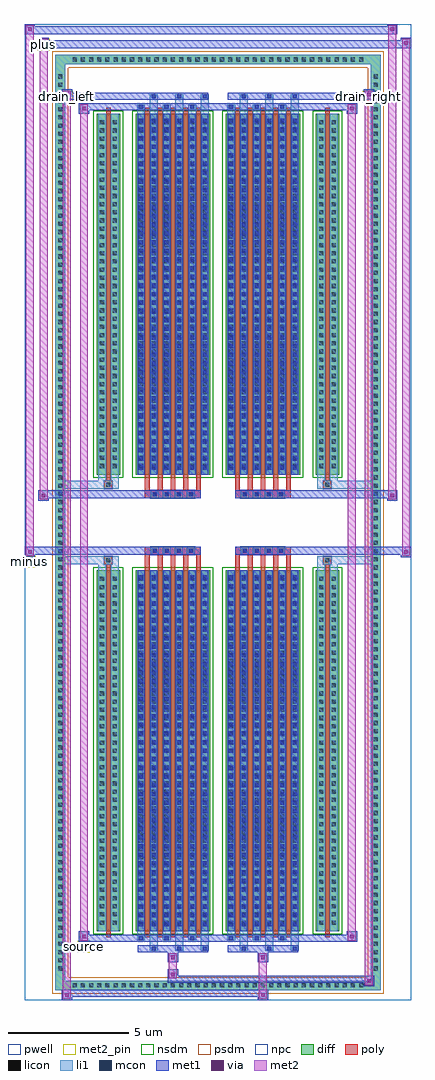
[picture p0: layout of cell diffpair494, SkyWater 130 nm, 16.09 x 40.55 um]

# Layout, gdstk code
import gdstk
lib = gdstk.Library(unit=1e-6, precision=5e-09)
def R(c, l, rs):  # rectangles x0, y0, x1, y1
    for r in rs: c.add(gdstk.rectangle(r[:2], r[2:], *l))
def A(c, l, x, y, w, h, nx, ny, dx, dy):  # array of equal rectangles
    R(c, l, [(x+i*dx, y+j*dy, x+i*dx+w, y+j*dy+h) for i in range(nx) for j in range(ny)])
def P(c, l, *ps):  # polygons
    for p in ps: c.add(gdstk.Polygon(p, *l))
pwell = (64, 44)
diff = (65, 20)
poly = (66, 20)
licon = (66, 44)
li1 = (67, 20)
mcon = (67, 44)
met1 = (68, 20)
via = (68, 44)
met2_pin = (69, 16)
met2 = (69, 20)
nsdm = (93, 44)
psdm = (94, 20)
npc = (95, 20)

diffpair494 = lib.new_cell('diffpair494')
R(diffpair494, pwell, [(-8.03,-19.84,8.03,20.71), (-5.35,-18.03,-0.01,-0.805), (0.01,-18.03,5.35,-0.805), (-5.35,0.805,-0.01,18.03), (0.01,0.805,5.35,18.03)])
A(diffpair494, diff, -6.155, -19.44, 0.41, 0.41, 36, 2, 0.34, 38.47)
A(diffpair494, diff, -6.76, -18.735, 0.41, 0.41, 1, 110, 0, 0.34)
A(diffpair494, diff, 6.35, -18.735, 0.41, 0.41, 1, 110, 0, 0.34)
R(diffpair494, diff, [(-6.155,-19.44,6.155,-19.03), (-6.76,-18.735,-6.35,18.735), (6.35,-18.735,6.76,18.735), (-5.04,-16.985,-4.06,-1.985), (-3.42,-16.985,-0.32,-1.985), (0.32,-16.985,3.42,-1.985), (4.06,-16.985,5.04,-1.985), (-5.04,1.985,-4.06,16.985), (-3.42,1.985,-0.32,16.985), (0.32,1.985,3.42,16.985), (4.06,1.985,5.04,16.985), (-6.155,19.03,6.155,19.44)])
P(diffpair494, diff, [(6.76,19.44),(-6.76,19.44),(-6.76,-19.03),(-6.35,-19.03),(-6.35,19.03),(6.35,19.03),(6.35,-19.03),(-6.35,-19.03),(-6.76,-19.03),(-6.76,-19.44),(6.76,-19.44)])
A(diffpair494, poly, -3.03, -17.235, 0.2, 15.5, 5, 2, 0.53, 18.97)
A(diffpair494, poly, 0.71, -17.235, 0.2, 15.5, 5, 2, 0.53, 18.97)
A(diffpair494, poly, -3.03, -1.735, 0.2, 0.4, 5, 2, 0.53, 3.07)
A(diffpair494, poly, 0.71, -1.735, 0.2, 0.4, 5, 2, 0.53, 3.07)
A(diffpair494, poly, -2.785, -1.335, 0.33, 0.33, 4, 2, 0.5, 2.34)
A(diffpair494, poly, 0.955, -1.335, 0.33, 0.33, 4, 2, 0.5, 2.34)
R(diffpair494, poly, [(-4.65,-17.235,-4.45,-1.735), (4.45,-17.235,4.65,-1.735), (-4.715,-1.735,-4.385,-1.405), (-4.715,-1.735,-4.385,-1.405), (4.385,-1.735,4.715,-1.405), (4.385,-1.735,4.715,-1.405), (-3.03,-1.335,-0.71,-1.005), (0.71,-1.335,3.03,-1.005), (-3.03,1.005,-0.71,1.335), (0.71,1.005,3.03,1.335), (-4.715,1.405,-4.385,1.735), (-4.715,1.405,-4.385,1.735), (4.385,1.405,4.715,1.735), (4.385,1.405,4.715,1.735), (-4.65,1.735,-4.45,17.235), (4.45,1.735,4.65,17.235)])
A(diffpair494, licon, -6.035, -19.32, 0.17, 0.17, 36, 2, 0.34, 38.47)
A(diffpair494, licon, -6.64, -18.615, 0.17, 0.17, 1, 110, 0, 0.34)
A(diffpair494, licon, 6.47, -18.615, 0.17, 0.17, 1, 110, 0, 0.34)
A(diffpair494, licon, -4.9, -16.71, 0.17, 0.17, 1, 43, 0, 0.34)
A(diffpair494, licon, -4.37, -16.71, 0.17, 0.17, 1, 43, 0, 0.34)
A(diffpair494, licon, -3.28, -16.71, 0.17, 0.17, 6, 43, 0.53, 0.34)
A(diffpair494, licon, 0.46, -16.71, 0.17, 0.17, 6, 43, 0.53, 0.34)
A(diffpair494, licon, 4.2, -16.71, 0.17, 0.17, 1, 43, 0, 0.34)
A(diffpair494, licon, 4.73, -16.71, 0.17, 0.17, 1, 43, 0, 0.34)
A(diffpair494, licon, -2.705, -1.255, 0.17, 0.17, 4, 2, 0.5, 2.34)
A(diffpair494, licon, 1.035, -1.255, 0.17, 0.17, 4, 2, 0.5, 2.34)
A(diffpair494, licon, -4.9, 2.26, 0.17, 0.17, 1, 43, 0, 0.34)
A(diffpair494, licon, -4.37, 2.26, 0.17, 0.17, 1, 43, 0, 0.34)
A(diffpair494, licon, -3.28, 2.26, 0.17, 0.17, 6, 43, 0.53, 0.34)
A(diffpair494, licon, 0.46, 2.26, 0.17, 0.17, 6, 43, 0.53, 0.34)
A(diffpair494, licon, 4.2, 2.26, 0.17, 0.17, 1, 43, 0, 0.34)
A(diffpair494, licon, 4.73, 2.26, 0.17, 0.17, 1, 43, 0, 0.34)
R(diffpair494, licon, [(-4.635,-1.655,-4.465,-1.485), (4.465,-1.655,4.635,-1.485), (-4.635,1.485,-4.465,1.655), (4.465,1.485,4.635,1.655)])
A(diffpair494, li1, -6.115, -19.4, 0.33, 0.33, 36, 2, 0.34, 38.47)
A(diffpair494, li1, -6.72, -18.695, 0.33, 0.33, 1, 110, 0, 0.34)
A(diffpair494, li1, 6.39, -18.695, 0.33, 0.33, 1, 110, 0, 0.34)
A(diffpair494, li1, -2.83, -17.79, 0.33, 0.805, 3, 2, 1.06, 34.775)
A(diffpair494, li1, -2.75, -17.79, 0.17, 0.17, 3, 2, 1.06, 35.41)
A(diffpair494, li1, 0.91, -17.79, 0.33, 0.805, 3, 2, 1.06, 34.775)
A(diffpair494, li1, 0.99, -17.79, 0.17, 0.17, 3, 2, 1.06, 35.41)
A(diffpair494, li1, -3.36, -17.36, 0.33, 0.375, 3, 2, 1.06, 34.345)
A(diffpair494, li1, -3.28, -17.36, 0.17, 0.17, 3, 2, 1.06, 34.55)
A(diffpair494, li1, 0.38, -17.36, 0.33, 0.375, 3, 2, 1.06, 34.345)
A(diffpair494, li1, 0.46, -17.36, 0.17, 0.17, 3, 2, 1.06, 34.55)
A(diffpair494, li1, -3.36, -16.985, 0.33, 15, 6, 2, 0.53, 18.97)
A(diffpair494, li1, 0.38, -16.985, 0.33, 15, 6, 2, 0.53, 18.97)
A(diffpair494, li1, -4.98, -16.79, 0.33, 0.33, 1, 43, 0, 0.34)
A(diffpair494, li1, -4.45, -16.79, 0.33, 0.33, 1, 43, 0, 0.34)
A(diffpair494, li1, -3.36, -16.79, 0.33, 0.33, 6, 43, 0.53, 0.34)
A(diffpair494, li1, 0.38, -16.79, 0.33, 0.33, 6, 43, 0.53, 0.34)
A(diffpair494, li1, 4.12, -16.79, 0.33, 0.33, 1, 43, 0, 0.34)
A(diffpair494, li1, 4.65, -16.79, 0.33, 0.33, 1, 43, 0, 0.34)
A(diffpair494, li1, -3.28, -16.77, 0.17, 0.17, 6, 41, 0.53, 0.36)
A(diffpair494, li1, -3.28, -16.77, 0.17, 14.57, 6, 2, 0.53, 18.97)
A(diffpair494, li1, 0.46, -16.77, 0.17, 0.17, 6, 41, 0.53, 0.36)
A(diffpair494, li1, 0.46, -16.77, 0.17, 14.57, 6, 2, 0.53, 18.97)
A(diffpair494, li1, -2.785, -1.335, 0.33, 0.33, 4, 2, 0.5, 2.34)
A(diffpair494, li1, 0.955, -1.335, 0.33, 0.33, 4, 2, 0.5, 2.34)
A(diffpair494, li1, -4.98, 2.18, 0.33, 0.33, 1, 43, 0, 0.34)
A(diffpair494, li1, -4.45, 2.18, 0.33, 0.33, 1, 43, 0, 0.34)
A(diffpair494, li1, -3.36, 2.18, 0.33, 0.33, 6, 43, 0.53, 0.34)
A(diffpair494, li1, 0.38, 2.18, 0.33, 0.33, 6, 43, 0.53, 0.34)
A(diffpair494, li1, 4.12, 2.18, 0.33, 0.33, 1, 43, 0, 0.34)
A(diffpair494, li1, 4.65, 2.18, 0.33, 0.33, 1, 43, 0, 0.34)
A(diffpair494, li1, -3.28, 2.2, 0.17, 0.17, 6, 41, 0.53, 0.36)
A(diffpair494, li1, 0.46, 2.2, 0.17, 0.17, 6, 41, 0.53, 0.36)
R(diffpair494, li1, [(-6.76,-19.44,-6.35,-19.03), (-6.76,-19.44,-6.35,-19.03), (-6.35,-19.44,6.35,-19.03), (6.35,-19.44,6.76,-19.03), (6.35,-19.44,6.76,-19.03), (-6.76,-19.03,-6.35,19.03), (6.35,-19.03,6.76,19.03), (-4.98,-16.985,-4.65,-1.985), (-4.45,-16.985,-4.12,-1.985), (4.12,-16.985,4.45,-1.985), (4.65,-16.985,4.98,-1.985), (-4.98,-1.985,-4.65,-1.405), (-4.45,-1.985,-4.12,-1.405), (4.12,-1.985,4.45,-1.405), (4.65,-1.985,4.98,-1.405), (-6.76,-1.735,-4.715,-1.405), (-4.98,-1.735,-4.715,-1.405), (-4.715,-1.735,-4.385,-1.405), (-4.385,-1.735,-4.12,-1.405), (4.12,-1.735,4.385,-1.405), (4.385,-1.735,4.715,-1.405), (4.385,-1.735,6.76,-1.405), (4.715,-1.735,4.98,-1.405), (-6.76,1.405,-4.715,1.735), (-4.98,1.405,-4.715,1.735), (-4.98,1.405,-4.65,1.985), (-4.715,1.405,-4.385,1.735), (-4.45,1.405,-4.12,1.985), (-4.385,1.405,-4.12,1.735), (4.12,1.405,4.385,1.735), (4.12,1.405,4.45,1.985), (4.385,1.405,4.715,1.735), (4.385,1.405,6.76,1.735), (4.65,1.405,4.98,1.985), (4.715,1.405,4.98,1.735), (-4.98,1.985,-4.65,16.985), (-4.45,1.985,-4.12,16.985), (4.12,1.985,4.45,16.985), (4.65,1.985,4.98,16.985), (-6.76,19.03,-6.35,19.44), (-6.76,19.03,-6.35,19.44), (-6.35,19.03,6.35,19.44), (6.35,19.03,6.76,19.44), (6.35,19.03,6.76,19.44)])
A(diffpair494, mcon, -2.75, -17.79, 0.17, 0.17, 3, 2, 1.06, 35.41)
A(diffpair494, mcon, 0.99, -17.79, 0.17, 0.17, 3, 2, 1.06, 35.41)
A(diffpair494, mcon, -3.28, -17.36, 0.17, 0.17, 3, 2, 1.06, 34.55)
A(diffpair494, mcon, 0.46, -17.36, 0.17, 0.17, 3, 2, 1.06, 34.55)
A(diffpair494, mcon, -3.28, -16.77, 0.17, 0.17, 6, 41, 0.53, 0.36)
A(diffpair494, mcon, 0.46, -16.77, 0.17, 0.17, 6, 41, 0.53, 0.36)
A(diffpair494, mcon, -2.705, -1.255, 0.17, 0.17, 4, 2, 0.5, 2.34)
A(diffpair494, mcon, 1.035, -1.255, 0.17, 0.17, 4, 2, 0.5, 2.34)
A(diffpair494, mcon, -3.28, 2.2, 0.17, 0.17, 6, 41, 0.53, 0.36)
A(diffpair494, mcon, 0.46, 2.2, 0.17, 0.17, 6, 41, 0.53, 0.36)
A(diffpair494, met1, -2.81, -17.85, 0.29, 0.29, 3, 2, 1.06, 35.41)
A(diffpair494, met1, 0.93, -17.85, 0.29, 0.29, 3, 2, 1.06, 35.41)
A(diffpair494, met1, -3.34, -17.42, 0.29, 0.29, 3, 2, 1.06, 34.55)
A(diffpair494, met1, 0.4, -17.42, 0.29, 0.29, 3, 2, 1.06, 34.55)
A(diffpair494, met1, -3.34, -16.985, 0.29, 15, 6, 2, 0.53, 18.97)
A(diffpair494, met1, 0.4, -16.985, 0.29, 15, 6, 2, 0.53, 18.97)
A(diffpair494, met1, -3.34, -16.83, 0.29, 0.29, 6, 41, 0.53, 0.36)
A(diffpair494, met1, 0.4, -16.83, 0.29, 0.29, 6, 41, 0.53, 0.36)
A(diffpair494, met1, -2.765, -1.315, 0.29, 0.29, 4, 2, 0.5, 2.34)
A(diffpair494, met1, 0.975, -1.315, 0.29, 0.29, 4, 2, 0.5, 2.34)
A(diffpair494, met1, -3.34, 2.14, 0.29, 0.29, 6, 41, 0.53, 0.36)
A(diffpair494, met1, 0.4, 2.14, 0.29, 0.29, 6, 41, 0.53, 0.36)
R(diffpair494, met1, [(-6.49,-19.84,-6.06,-19.41), (1.655,-19.84,2.085,-19.41), (-6.49,-19.7,2.085,-19.41), (6.06,-19.27,6.49,-18.84), (-2.085,-19.13,6.49,-18.84), (-2.085,-18.99,-1.655,-18.56), (-2.085,-18.28,-1.655,-17.85), (1.655,-18.28,2.085,-17.85), (-3.34,-17.85,-0.4,-17.56), (0.4,-17.85,3.34,-17.56), (-5.78,-17.42,-5.35,-16.99), (-5.78,-17.42,-3.34,-17.13), (-3.34,-17.42,-0.4,-17.13), (-0.4,-17.42,0.4,-17.13), (0.4,-17.42,3.34,-17.13), (3.34,-17.42,5.78,-17.13), (5.35,-17.42,5.78,-16.99), (-8.03,-1.435,-7.6,-1.005), (7.6,-1.435,8.03,-1.005), (-8.03,-1.335,-0.71,-1.005), (-3.03,-1.335,-0.71,-1.005), (0.71,-1.335,3.03,-1.005), (0.71,-1.335,8.03,-1.005), (-7.46,0.905,-7.03,1.335), (7.03,0.905,7.46,1.335), (-7.46,1.005,-3.03,1.335), (-3.03,1.005,-0.71,1.335), (0.71,1.005,3.03,1.335), (3.03,1.005,7.46,1.335), (-5.78,16.99,-5.35,17.42), (5.35,16.99,5.78,17.42), (-5.78,17.13,-3.34,17.42), (-3.34,17.13,-0.4,17.42), (-0.4,17.13,0.4,17.42), (0.4,17.13,3.34,17.42), (3.34,17.13,5.78,17.42), (-6.49,17.56,-6.06,17.99), (-6.49,17.56,-3.34,17.85), (-3.34,17.56,-0.4,17.85), (0.4,17.56,3.34,17.85), (3.34,17.56,6.49,17.85), (6.06,17.56,6.49,17.99), (-7.46,19.71,-7.03,20.14), (-7.46,19.71,-5.35,20.04), (-5.35,19.71,5.35,20.04), (5.35,19.71,8.03,20.04), (7.6,19.71,8.03,20.14), (-8.03,20.28,-7.6,20.71), (-8.03,20.28,-5.35,20.61), (-5.35,20.28,5.35,20.61), (5.35,20.28,7.46,20.61), (7.03,20.28,7.46,20.71)])
R(diffpair494, via, [(-6.35,-19.7,-6.2,-19.55), (1.795,-19.7,1.945,-19.55), (6.2,-19.13,6.35,-18.98), (-1.945,-18.85,-1.795,-18.7), (-1.945,-18.14,-1.795,-17.99), (1.795,-18.14,1.945,-17.99), (-5.64,-17.28,-5.49,-17.13), (5.49,-17.28,5.64,-17.13), (-7.89,-1.295,-7.74,-1.145), (7.74,-1.295,7.89,-1.145), (-7.32,1.045,-7.17,1.195), (7.17,1.045,7.32,1.195), (-5.64,17.13,-5.49,17.28), (5.49,17.13,5.64,17.28), (-6.35,17.7,-6.2,17.85), (6.2,17.7,6.35,17.85), (-7.32,19.85,-7.17,20), (7.74,19.85,7.89,20), (-7.89,20.42,-7.74,20.57), (7.17,20.42,7.32,20.57)])
R(diffpair494, met2_pin, [(-5.815,-17.87,-5.315,-17.37), (-8.065,-1.885,-7.565,-1.385), (-6.525,17.44,-6.025,17.94), (6.025,17.44,6.525,17.94), (-7.495,19.59,-6.995,20.09)])
R(diffpair494, met2, [(-6.44,-19.79,-6.11,-19.46), (-6.44,-19.79,-6.11,17.94), (1.705,-19.79,2.035,-19.46), (1.705,-19.46,2.035,-18.23), (6.11,-19.22,6.44,-18.89), (6.11,-19.22,6.44,17.94), (-2.035,-18.94,-1.705,-18.61), (-2.035,-18.61,-1.705,-18.23), (-2.035,-18.23,-1.705,-17.9), (1.705,-18.23,2.035,-17.9), (-5.73,-17.37,-5.4,-17.04), (-5.73,-17.37,-5.4,17.37), (5.4,-17.37,5.73,-17.04), (5.4,-17.37,5.73,17.37), (-7.98,-1.385,-7.65,-1.055), (-7.98,-1.385,-7.65,20.66), (7.65,-1.385,7.98,-1.055), (7.65,-1.385,7.98,20.09), (-7.41,0.955,-7.08,1.285), (-7.41,0.955,-7.08,20.09), (7.08,0.955,7.41,1.285), (7.08,0.955,7.41,20.66), (-5.73,17.04,-5.4,17.37), (5.4,17.04,5.73,17.37), (-6.44,17.61,-6.11,17.94), (6.11,17.61,6.44,17.94), (-7.41,19.76,-7.08,20.09), (7.65,19.76,7.98,20.09), (-7.98,20.33,-7.65,20.66), (7.08,20.33,7.41,20.66)])
P(diffpair494, met2, [(7.98,-1.385),(7.98,-1.385),(7.98,-1.055),(7.98,-1.055)],
  [(7.98,19.76),(7.98,19.76),(7.98,20.09),(7.98,20.09)],
  [(-7.65,-1.385),(-7.65,-1.385),(-7.65,-1.055),(-7.65,-1.055)],
  [(-7.65,20.33),(-7.65,20.33),(-7.65,20.66),(-7.65,20.66)],
  [(7.41,0.955),(7.41,0.955),(7.41,1.285),(7.41,1.285)],
  [(7.41,20.33),(7.41,20.33),(7.41,20.66),(7.41,20.66)],
  [(-7.08,0.955),(-7.08,0.955),(-7.08,1.285),(-7.08,1.285)],
  [(-7.08,19.76),(-7.08,19.76),(-7.08,20.09),(-7.08,20.09)],
  [(-6.11,-19.79),(-6.11,-19.79),(-6.11,-19.46),(-6.11,-19.46)],
  [(-6.11,17.61),(-6.11,17.61),(-6.11,17.94),(-6.11,17.94)],
  [(6.44,-19.22),(6.44,-19.22),(6.44,-18.89),(6.44,-18.89)],
  [(6.44,17.61),(6.44,17.61),(6.44,17.94),(6.44,17.94)],
  [(-5.4,-17.37),(-5.4,-17.37),(-5.4,-17.04),(-5.4,-17.04)],
  [(-5.4,17.04),(-5.4,17.04),(-5.4,17.37),(-5.4,17.37)],
  [(5.73,-17.37),(5.73,-17.37),(5.73,-17.04),(5.73,-17.04)],
  [(5.73,17.04),(5.73,17.04),(5.73,17.37),(5.73,17.37)])
R(diffpair494, nsdm, [(-5.17,-17.115,-3.93,-1.855), (-3.55,-17.115,-0.19,-1.855), (0.19,-17.115,3.55,-1.855), (3.93,-17.115,5.17,-1.855), (-5.17,1.855,-3.93,17.115), (-3.55,1.855,-0.19,17.115), (0.19,1.855,3.55,17.115), (3.93,1.855,5.17,17.115)])
P(diffpair494, psdm, [(6.89,19.57),(-6.89,19.57),(-6.89,-18.9),(-6.22,-18.9),(-6.22,18.9),(6.22,18.9),(6.22,-18.9),(-6.22,-18.9),(-6.89,-18.9),(-6.89,-19.57),(6.89,-19.57)])
A(diffpair494, npc, -2.805, -1.355, 0.37, 0.37, 4, 2, 0.5, 2.34)
A(diffpair494, npc, 0.935, -1.355, 0.37, 0.37, 4, 2, 0.5, 2.34)
R(diffpair494, npc, [(-4.735,-1.755,-4.365,-1.385), (4.365,-1.755,4.735,-1.385), (-2.805,-1.355,-1.935,-0.985), (-2.805,-1.355,-1.935,-0.985), (-2.305,-1.355,-1.435,-0.985), (-2.305,-1.355,-1.435,-0.985), (-1.805,-1.355,-0.935,-0.985), (-1.805,-1.355,-0.935,-0.985), (0.935,-1.355,1.805,-0.985), (0.935,-1.355,1.805,-0.985), (1.435,-1.355,2.305,-0.985), (1.435,-1.355,2.305,-0.985), (1.935,-1.355,2.805,-0.985), (1.935,-1.355,2.805,-0.985), (-2.805,0.985,-1.935,1.355), (-2.805,0.985,-1.935,1.355), (-2.305,0.985,-1.435,1.355), (-2.305,0.985,-1.435,1.355), (-1.805,0.985,-0.935,1.355), (-1.805,0.985,-0.935,1.355), (0.935,0.985,1.805,1.355), (0.935,0.985,1.805,1.355), (1.435,0.985,2.305,1.355), (1.435,0.985,2.305,1.355), (1.935,0.985,2.805,1.355), (1.935,0.985,2.805,1.355), (-4.735,1.385,-4.365,1.755), (4.365,1.385,4.735,1.755)])
diffpair494.add(gdstk.Label('minus', (-7.815,-1.635), layer=69, texttype=5))
diffpair494.add(gdstk.Label('drain_right', (6.275,17.69), layer=69, texttype=5))
diffpair494.add(gdstk.Label('drain_left', (-6.275,17.69), layer=69, texttype=5))
diffpair494.add(gdstk.Label('source', (-5.565,-17.62), layer=69, texttype=5))
diffpair494.add(gdstk.Label('plus', (-7.245,19.84), layer=69, texttype=5))

lib.write_gds('diffpair494.gds')
